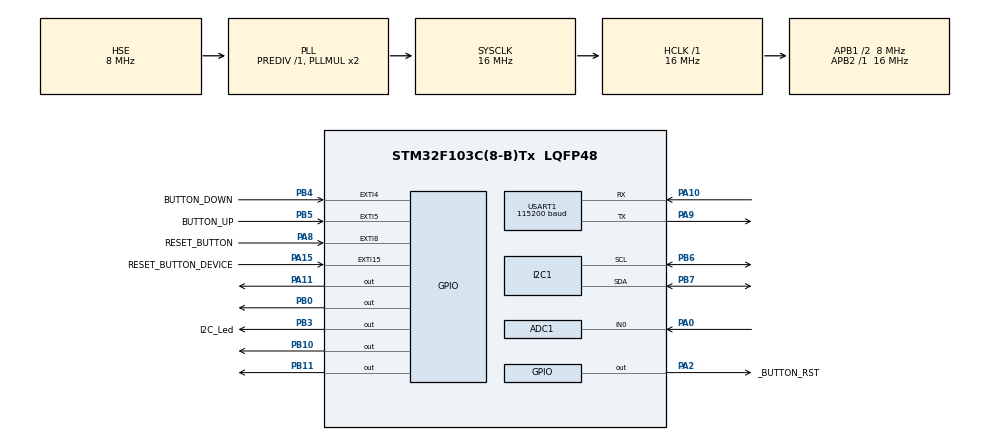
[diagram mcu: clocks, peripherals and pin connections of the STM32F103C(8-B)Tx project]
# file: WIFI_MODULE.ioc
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ADC1.Channel-0\#ChannelRegularConversion=ADC_CHANNEL_0
ADC1.ContinuousConvMode=ENABLE
ADC1.NbrOfConversionFlag=1
ADC1.Rank-0\#ChannelRegularConversion=1
ADC1.SamplingTime-0\#ChannelRegularConversion=ADC_SAMPLETIME_239CYCLES_5
ADC1.master=1
I2C1.DutyCycle=I2C_DUTYCYCLE_16_9
I2C1.I2C_Mode=I2C_Fast
Mcu.Family=STM32F1
Mcu.Name=STM32F103C(8-B)Tx
Mcu.Package=LQFP48
NVIC.ADC1_2_IRQn=true\:3\:0\:true\:false\:true\:true\:true\:true
NVIC.EXTI4_IRQn=true\:1\:0\:true\:false\:true\:true\:true\:true
NVIC.EXTI9_5_IRQn=true\:1\:0\:true\:false\:true\:true\:true\:true
NVIC.PriorityGroup=NVIC_PRIORITYGROUP_4
NVIC.TIM2_IRQn=true\:1\:0\:true\:false\:true\:true\:true\:true
NVIC.TIM3_IRQn=true\:2\:0\:true\:false\:true\:true\:true\:true
NVIC.USART1_IRQn=true\:0\:0\:true\:false\:true\:true\:true\:true
PA0-WKUP.Signal=ADCx_IN0
PA10.Mode=Asynchronous
PA10.Signal=USART1_RX
PA11.Signal=GPIO_Output
PA13.Mode=Serial_Wire
PA13.Signal=SYS_JTMS-SWDIO
PA14.Mode=Serial_Wire
PA14.Signal=SYS_JTCK-SWCLK
PA15.GPIO_Label=RESET_BUTTON_DEVICE
PA15.GPIO_ModeDefaultEXTI=GPIO_MODE_IT_RISING_FALLING
PA15.GPIO_PuPd=GPIO_PULLUP
PA15.Signal=GPXTI15
PA2.GPIO_Label=_BUTTON_RST
PA2.Signal=GPIO_Output
PA8.GPIO_Label=RESET_BUTTON
PA8.GPIO_ModeDefaultEXTI=GPIO_MODE_IT_RISING_FALLING
PA8.GPIO_PuPd=GPIO_PULLUP
PA8.Signal=GPXTI8
PA9.Mode=Asynchronous
PA9.Signal=USART1_TX
PB0.Signal=GPIO_Output
PB10.Signal=GPIO_Output
PB11.Signal=GPIO_Output
PB3.GPIO_Label=I2C_Led
PB3.Signal=GPIO_Output
PB4.GPIO_Label=BUTTON_DOWN
PB4.GPIO_ModeDefaultEXTI=GPIO_MODE_IT_RISING_FALLING
PB4.GPIO_PuPd=GPIO_PULLUP
PB4.Signal=GPXTI4
PB5.GPIO_Label=BUTTON_UP
PB5.GPIO_ModeDefaultEXTI=GPIO_MODE_IT_RISING_FALLING
PB5.GPIO_PuPd=GPIO_PULLUP
PB5.Signal=GPXTI5
PB6.Mode=I2C
PB6.Signal=I2C1_SCL
PB7.Mode=I2C
PB7.Signal=I2C1_SDA
PD0-OSC_IN.Mode=HSE-External-Oscillator
PD0-OSC_IN.Signal=RCC_OSC_IN
PD1-OSC_OUT.Mode=HSE-External-Oscillator
PD1-OSC_OUT.Signal=RCC_OSC_OUT
ProjectManager.HeapSize=0x200
ProjectManager.StackSize=0x400
ProjectManager.TargetToolchain=STM32CubeIDE
RCC.AHBFreq_Value=16000000
RCC.APB1CLKDivider=RCC_HCLK_DIV2
RCC.APB1Freq_Value=8000000
RCC.APB1TimFreq_Value=16000000
RCC.APB2Freq_Value=16000000
RCC.APB2TimFreq_Value=16000000
RCC.HCLKFreq_Value=16000000
RCC.PLLSourceVirtual=RCC_PLLSOURCE_HSE
RCC.SYSCLKFreq_VALUE=16000000
RCC.SYSCLKSource=RCC_SYSCLKSOURCE_PLLCLK
RCC.USBFreq_Value=16000000
SH.ADCx_IN0.0=ADC1_IN0,IN0
TIM2.Period=63999
TIM2.Prescaler=249
TIM3.Period=49999
TIM3.Prescaler=15
USART1.BaudRate=115200
USART1.VirtualMode=VM_ASYNC
VP_TIM2_VS_ClockSourceINT.Mode=Internal
VP_TIM3_VS_ClockSourceINT.Mode=Internal
board=custom

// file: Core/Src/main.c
/* USER CODE BEGIN Header */
/**
  ******************************************************************************
  * @file           : main.c
  * @brief          : Main program body
  ******************************************************************************
  * @attention
  *
  * Copyright (c) 2024 STMicroelectronics.
  * All rights reserved.
  *
  * This software is licensed under terms that can be found in the LICENSE file
  * in the root directory of this software component.
  * If no LICENSE file comes with this software, it is provided AS-IS.
  *
  ******************************************************************************
  */
/* USER CODE END Header */
#include "main.h"

/* USER CODE BEGIN Includes */
#include "../../Drivers/ssd1306/Inc/ssd1306.h"
#include "../../Drivers/ssd1306/Inc/ssd1306_tests.h"
#include "esp8266wifi.h"
#include "math.h"
#include "DS3231.h"
#include "stdbool.h"
#include  "stdio.h"
/* USER CODE END Includes */

/* USER CODE BEGIN PM */
Wifi_t Wifi;
uint8_t init =1;
uint8_t button_resetDevice = 1;
uint8_t actionProtocol =0;

// Global variable to keep track of LED state
volatile uint8_t led_state = 0;
bool stateReset = true;
volatile bool sendFlag = false;

const char *deviceName = "\"ST-ESP-SZ_1-V-AMNH\"";

char message[50];
char jsonData[100];

char response[]="HTTP/1.1 200 OK\r\nContent-Type: text/html\r\n\r\n"
	 	 	 "<!DOCTYPE html>\r\n"
	 	 	 "<html lang=\"en\">\r\n"
	 	 	 "<head>\r\n"
	 	 	 "    <title>WiFi Configuration</title>\r\n"
	 	 	 "</head>\r\n"
		     "<body>\r\n"
			 "    <h1>Da dang nhap thanh cong</h1>\r\n"
			 "</body>\r\n"
	 	 	 "</html>\r\n";

char http_response[] =  "HTTP/1.1 200 OK\r\nContent-Type: text/html\r\n\r\n"
		 	 	 	 	 "<!DOCTYPE html>\r\n"
		 	 	 	 	 "<html lang=\"en\">\r\n"
		 	 	 	 	 "<head>\r\n"
		 	 	 	 	 "    <title>WiFi Configuration</title>\r\n"
		 	 	 	 	 "</head>\r\n"
		 	 	 	 	 "<body>\r\n"
		 	 	 	 	 "    <h1>WiFi Configuration</h1>\r\n"
		 	 	 	 	 "    <form action=\"/submit\" method=\"post\">\r\n"
		 	 	 	 	 "        <label for=\"ssid\">SSID (WiFi Name):</label><br>\r\n"
		 	 	 	 	 "        <input type=\"text\" id=\"ssid\" name=\"ssid\"><br>\r\n"
		 	 	 	 	 "        <label for=\"password\">Password:</label><br>\r\n"
		 	 	 	 	 "        <input type=\"password\" id=\"password\" name=\"password\"><br><br>\r\n"
		 	 	 	 	 "        <input type=\"submit\" value=\"Submit\">\r\n"
		 	 	 	 	 "    </form>\r\n"
		 	 	 	 	 "</body>\r\n"
		 	 	 	 	 "</html>\r\n";

/*----------------------------------------------TIME RTC-----------------------------------------*/
float rtcTemp;
_RTC rtc ;
/*-----------------------------------------------------------------------------------------------*/
#define sampleWindow 50
uint16_t sample;
volatile uint16_t signalMax = 0;
volatile uint16_t signalMin = 4095;
double volts, first,dBValue=0.0;

const uint16_t levelShift = 676;  // Adjust for your reference voltage
const uint8_t timeIntervalSampling = 30;

static uint16_t audioMin = 4095;
	        static uint16_t audioMax = 0;

uint16_t sampleCounter;
uint16_t audioInRaw;
int audioInRectified;
int audioPeakToPeak;
float audioRMSPrecalc;
float audioRMS;
float audioRMSFiltered;
float audiodBSPL;
float audioVoltagePeakToPeak;
float filteredAudioVoltagePeakToPeak ;

/* USER CODE END PM */

ADC_HandleTypeDef hadc1;

I2C_HandleTypeDef hi2c1;

TIM_HandleTypeDef htim2;
TIM_HandleTypeDef htim3;

UART_HandleTypeDef huart1;

void SystemClock_Config(void);
static void MX_GPIO_Init(void);
static void MX_USART1_UART_Init(void);
static void MX_I2C1_Init(void);
static void MX_TIM2_Init(void);
static void MX_ADC1_Init(void);
static void MX_TIM3_Init(void);
/* USER CODE BEGIN PFP */
bool containSubstring(uint8_t *source, int source_len,char *substring) ;
void microphoneADCReading();
void sendDataToServer();
void floatToString2(float number, char* str) ;
void interactiveWithCloudServer(char *data);
float lowPassFilter(float inputValue, float alpha);

/* USER CODE END PFP */

/* USER CODE BEGIN 0 */

void HAL_TIM_PeriodElapsedCallback(TIM_HandleTypeDef *htim) {
  if (htim->Instance == TIM2) {
    if(init==1){
    	led_state = !led_state;
    	HAL_GPIO_WritePin(GPIOB, GPIO_PIN_11, led_state ? GPIO_PIN_SET : GPIO_PIN_RESET);
    }else{
    	sendFlag = true;

    }
  }
  else if(htim->Instance == TIM3){
	  microphoneADCReading();

	  memset(message,0,sizeof(message));
	  floatToString2(audiodBSPL, message);

  }
}

void HAL_GPIO_EXTI_Callback(uint16_t GPIO_Pin){
	if(GPIO_Pin == GPIO_PIN_8){
		stateReset = HAL_GPIO_ReadPin(GPIOA, GPIO_PIN_8);
	}
	else if(GPIO_Pin == RESET_BUTTON_DEVICE_Pin){
		button_resetDevice = HAL_GPIO_ReadPin(RESET_BUTTON_DEVICE_GPIO_Port, RESET_BUTTON_DEVICE_Pin);
	}
	else{
		__NOP();
	}
}

void HAL_ADC_ConvCpltCallback(ADC_HandleTypeDef *hadc)
{
	if(hadc->Instance == hadc1.Instance){
		audioInRaw = HAL_ADC_GetValue(hadc);
		audioInRectified = abs(audioInRaw - levelShift);

		audioMin = (audioInRectified < audioMin) ? audioInRectified : audioMin;
		audioMax = (audioInRectified > audioMax) ? audioInRectified : audioMax;
	}

}

void microphoneADCReading() {

	            audioPeakToPeak = audioMax - audioMin;
	            audioVoltagePeakToPeak = (((float)audioPeakToPeak * 3.3) / 4095.0)*0.707;
	            float alpha = 0.1; // Adjust alpha as needed
	            filteredAudioVoltagePeakToPeak = lowPassFilter(audioVoltagePeakToPeak, alpha);

	            audiodBSPL = 94 + 20 * log10(filteredAudioVoltagePeakToPeak / 0.00631) - 44 - 25;

	            if(audiodBSPL >=58){
	      	  	          HAL_GPIO_WritePin(GPIOB, GPIO_PIN_10, GPIO_PIN_SET);
	            	      HAL_GPIO_WritePin(GPIOB, GPIO_PIN_0, GPIO_PIN_SET);
	      	    }else if(audiodBSPL <58){
	      	  	          HAL_GPIO_WritePin(GPIOB, GPIO_PIN_10, GPIO_PIN_RESET);
	      	    	      HAL_GPIO_WritePin(GPIOB, GPIO_PIN_0, GPIO_PIN_RESET);
	      	    }

	            // Reset variables for the next measurement period
	            audioMin = 4095;
	            audioMax = 0;

	        HAL_ADC_Start_IT(&hadc1);
}

float lowPassFilter(float inputValue, float alpha) {
	 static float filteredValue = 0.0;
    // Apply low-pass filter equation: filteredValue = alpha * inputValue + (1 - alpha) * filteredValue
    filteredValue = (float)(alpha * inputValue + (1.0 - alpha) * filteredValue);

    return filteredValue;
}

void floatToString2(float number, char* str) {
    int integerPart = (int)number;
    int decimalPart = (int)((number - integerPart) * 100); // Assuming 2 decimal places

    if (number < 0) {
        	decimalPart*=-1;
    }
    sprintf(str, "%d.%02d", integerPart, decimalPart);
}

bool containSubstring(uint8_t *source, int source_len,char *substring) {
	int sub_len = strlen(substring);

    if (source_len < sub_len) {
        return false;
    }

    for (int i = 0; i <= source_len - sub_len; ++i) {
        if (memcmp(&source[i], substring, sub_len) == 0) {
            return true;
        }
    }

    return false;
}

int is_not_empty(char *str) {
    return (str != NULL && str[0] != '\0');
}

void analyzeBufferTime(char* bufferTime){
	sscanf(bufferTime,"%4d-%2d-%2dT%2d:%2d:%2d",&rtc.Year,&rtc.Month, &rtc.Date, &rtc.Hour, &rtc.Min, &rtc.Sec);
	rtc.Year = rtc.Year%100;
}

bool packageDataSecret(char *data){
	char httpRequest[256];
	sprintf(httpRequest, "POST /endpoint HTTP/1.1\r\nHost: 13.56.232.149\r\nContent-Type: application/json\r\nContent-Length: %d\r\n\r\n%s\r\n", strlen(data), data);

	//Send Package Data
    if(Wifi_TcpIp_SendDataTcp(0, strlen(httpRequest),(uint8_t*)httpRequest) == false)
		return false;

	return true;

}

bool tryConnectCloudServer(){
	//Connnect to Server IP and Server Port 13.56.232.149
    if(Wifi_TcpIp_CreateTCPConnection("13.56.232.149", 80)==false){
    	    led_state = 0;
			return false;
	}else{
		 led_state = 1;
	}

    return true;
}

void sendDataToServer(){
//	memset(message,0,sizeof(message));
//	floatToString2(audiodBSPL, message);
	sprintf(jsonData,"{\"deviceId\":%s,\"soundLevel\":%s}",deviceName,message);

	if(tryConnectCloudServer()){

		while(packageDataSecret(jsonData)==false);
	}
	HAL_GPIO_WritePin(GPIOB, GPIO_PIN_11, led_state ? GPIO_PIN_SET : GPIO_PIN_RESET);

//	showMonitoring(message);

}

void handleRequestWifiConfig(int linkID){
	if(containSubstring(Wifi.RxBuffer, sizeof(Wifi.RxBuffer), "GET /HOME") == 1){
		if(Wifi_TcpIp_SendDataTcp(linkID, sizeof(http_response),(uint8_t*)http_response ) == false)
		      while(1);
		if(Wifi_TcpIp_Close(linkID) == false)
			while(1);

	}else if(containSubstring(Wifi.RxBuffer, sizeof(Wifi.RxBuffer), "POST /submit") == 1){
		char *body_start =strstr((char*)&Wifi.RxBuffer, "ssid=");
		if(body_start != NULL){
			const char *ssid_start = strstr(body_start, "ssid=")+5;
			const char *password_start = strstr(body_start, "password=")+9;

			// Tìm vị trí kết thúc của ssid (kí tự &)
			const char *ssid_end = strchr(ssid_start, '&');
			// Tìm vị trí kết thúc của password (kí tự null)
			const char *password_end = strchr(password_start, '\0');

			if(ssid_end !=NULL){
				size_t len = ssid_end-ssid_start;
				strncpy(Wifi.SSID_STATION,ssid_start,len);
			}

			size_t len = password_end - password_start;
			strncpy(Wifi.PASSWORD_STATION, password_start, len);
			Wifi.PASSWORD_STATION[len] = '\0';
			Wifi_TxClear();
			if(Wifi_TcpIp_SendDataTcp(linkID, sizeof(response),(uint8_t*)response ) == false)
				while(1);
			if(Wifi_TcpIp_Close(linkID) == false)
				while(1);
		}
	}
}

void Devcice_getTimeFromHTTP(){
	char httpRequest[] = "GET /api/timezone/Asia/Ho_Chi_Minh HTTP/1.1\r\nHost: worldtimeapi.org\r\nConnection: close\r\n\r\n";

	while(Wifi_TcpIp_CreateTCPConnection("worldtimeapi.org", 80)==false);
//	if(Wifi_TcpIp_CreateTCPConnection("worldtimeapi.org", 80)==false)
//		 while(1);

	if(Wifi_TcpIp_SendDataTcp(0, strlen(httpRequest),(uint8_t*)httpRequest) == false)
	    while(1);

	do{
		if(containSubstring(Wifi.RxBuffer, sizeof(Wifi.RxBuffer),"\"datetime\":\"") == 1){
				  			const char* timeStart = strstr((char*)Wifi.RxBuffer, "\"datetime\":\"")+12;
				  			const char *timeEnd = strchr(timeStart, ',');
				  			size_t len = timeEnd-timeStart;

				  			if(timeStart != NULL){
				  					actionProtocol =1;
				  					strncpy(message,timeStart,len);
				  					analyzeBufferTime(message);
				  					memset(message,0,sizeof(message));
				  			}
				  		}
	}while(actionProtocol==0);
}

void Device_initializeComplex(){
	// Device started initialized
	HAL_TIM_Base_Start_IT(&htim2);

	//Initialized OLED Srceen
	ssd1306_InitializeDevice();

	/*---------------------------------------SET UP WIFI----------------------------------------*/
	/*------------------------------------------------------------------------------------------*/

	//Set up Device to Access Point
	Wifi_FirstInit(WIFI_MODE_AP);
	test(Wifi.MyIP,"MODE ACCESS POINT");

	//Set up Device to Station
	do{
		  //Waiting for respone from User act to remote ip 192.168.1.4
		  if(Wifi.RxBuffer != NULL){
			  handleRequestWifiConfig(Get_after((char*)Wifi.RxBuffer));
		  }

		  //Wating for receiving SSID and PASSWORD of target Access Point to make it a Station
		  if(is_not_empty(Wifi.SSID_STATION)&& is_not_empty(Wifi.PASSWORD_STATION)){
		  		Wifi_FirstInit(WIFI_MODE_STA);

		  		memset(Wifi.SSID_STATION,0,strlen(Wifi.SSID_STATION));
		  		memset(Wifi.PASSWORD_STATION,0,strlen(Wifi.PASSWORD_STATION));
		  		test(Wifi.MyIP,"-MODE STATION-");
		  		test("","WIFI CONNECTED");
		  		HAL_Delay(500);
		  }
	}while(Wifi.Mode == WIFI_MODE_AP);

	/*------------------------------------------------------------------------------------------*/
	/*------------------------------------------------------------------------------------------*/
}

/* USER CODE END 0 */

int main(void)
{

  /* MCU Configuration--------------------------------------------------------*/

  /* Reset of all peripherals, Initializes the Flash interface and the Systick. */
  HAL_Init();

  /* Configure the system clock */
  SystemClock_Config();

  /* Initialize all configured peripherals */
  MX_GPIO_Init();
  MX_USART1_UART_Init();
  MX_I2C1_Init();
  MX_TIM2_Init();
  MX_ADC1_Init();
  MX_TIM3_Init();
  /* USER CODE BEGIN 2 */

  HAL_TIM_Base_Start_IT(&htim3);
  if (HAL_ADC_Start_IT(&hadc1) != HAL_OK) {

  }

  DS3231_Init(&hi2c1);
  Device_initializeComplex();
  Devcice_getTimeFromHTTP();

  HAL_Delay(500);
  DS3231_SetTime(&rtc);

  init=0;

  /* USER CODE END 2 */

  /* Infinite loop */
  while (1)
  {

    /* USER CODE BEGIN 3 */
    DS3231_GetTime(&rtc);

	showMonitoring(message);

	if (sendFlag){
	    	   sendFlag = false;
	    	   sendDataToServer();
	}

  }
  /* USER CODE END 3 */
}

void SystemClock_Config(void)
{
  RCC_OscInitTypeDef RCC_OscInitStruct = {0};
  RCC_ClkInitTypeDef RCC_ClkInitStruct = {0};
  RCC_PeriphCLKInitTypeDef PeriphClkInit = {0};

  /** Initializes the RCC Oscillators according to the specified parameters
  * in the RCC_OscInitTypeDef structure.
  */
  RCC_OscInitStruct.OscillatorType = RCC_OSCILLATORTYPE_HSE;
  RCC_OscInitStruct.HSEState = RCC_HSE_ON;
  RCC_OscInitStruct.HSEPredivValue = RCC_HSE_PREDIV_DIV1;
  RCC_OscInitStruct.HSIState = RCC_HSI_ON;
  RCC_OscInitStruct.PLL.PLLState = RCC_PLL_ON;
  RCC_OscInitStruct.PLL.PLLSource = RCC_PLLSOURCE_HSE;
  RCC_OscInitStruct.PLL.PLLMUL = RCC_PLL_MUL2;
  if (HAL_RCC_OscConfig(&RCC_OscInitStruct) != HAL_OK)
  {
    Error_Handler();
  }

  /** Initializes the CPU, AHB and APB buses clocks
  */
  RCC_ClkInitStruct.ClockType = RCC_CLOCKTYPE_HCLK|RCC_CLOCKTYPE_SYSCLK
                              |RCC_CLOCKTYPE_PCLK1|RCC_CLOCKTYPE_PCLK2;
  RCC_ClkInitStruct.SYSCLKSource = RCC_SYSCLKSOURCE_PLLCLK;
  RCC_ClkInitStruct.AHBCLKDivider = RCC_SYSCLK_DIV1;
  RCC_ClkInitStruct.APB1CLKDivider = RCC_HCLK_DIV2;
  RCC_ClkInitStruct.APB2CLKDivider = RCC_HCLK_DIV1;

  if (HAL_RCC_ClockConfig(&RCC_ClkInitStruct, FLASH_LATENCY_0) != HAL_OK)
  {
    Error_Handler();
  }
  PeriphClkInit.PeriphClockSelection = RCC_PERIPHCLK_ADC;
  PeriphClkInit.AdcClockSelection = RCC_ADCPCLK2_DIV2;
  if (HAL_RCCEx_PeriphCLKConfig(&PeriphClkInit) != HAL_OK)
  {
    Error_Handler();
  }
}

static void MX_ADC1_Init(void)
{

  ADC_ChannelConfTypeDef sConfig = {0};

  /** Common config
  */
  hadc1.Instance = ADC1;
  hadc1.Init.ScanConvMode = ADC_SCAN_DISABLE;
  hadc1.Init.ContinuousConvMode = ENABLE;
  hadc1.Init.DiscontinuousConvMode = DISABLE;
  hadc1.Init.ExternalTrigConv = ADC_SOFTWARE_START;
  hadc1.Init.DataAlign = ADC_DATAALIGN_RIGHT;
  hadc1.Init.NbrOfConversion = 1;
  if (HAL_ADC_Init(&hadc1) != HAL_OK)
  {
    Error_Handler();
  }

  /** Configure Regular Channel
  */
  sConfig.Channel = ADC_CHANNEL_0;
  sConfig.Rank = ADC_REGULAR_RANK_1;
  sConfig.SamplingTime = ADC_SAMPLETIME_239CYCLES_5;
  if (HAL_ADC_ConfigChannel(&hadc1, &sConfig) != HAL_OK)
  {
    Error_Handler();
  }

}

static void MX_I2C1_Init(void)
{

  hi2c1.Instance = I2C1;
  hi2c1.Init.ClockSpeed = 400000;
  hi2c1.Init.DutyCycle = I2C_DUTYCYCLE_16_9;
  hi2c1.Init.OwnAddress1 = 0;
  hi2c1.Init.AddressingMode = I2C_ADDRESSINGMODE_7BIT;
  hi2c1.Init.DualAddressMode = I2C_DUALADDRESS_DISABLE;
  hi2c1.Init.OwnAddress2 = 0;
  hi2c1.Init.GeneralCallMode = I2C_GENERALCALL_DISABLE;
  hi2c1.Init.NoStretchMode = I2C_NOSTRETCH_DISABLE;
  if (HAL_I2C_Init(&hi2c1) != HAL_OK)
  {
    Error_Handler();
  }

}

static void MX_TIM2_Init(void)
{

  TIM_ClockConfigTypeDef sClockSourceConfig = {0};
  TIM_MasterConfigTypeDef sMasterConfig = {0};

  htim2.Instance = TIM2;
  htim2.Init.Prescaler = 249;
  htim2.Init.CounterMode = TIM_COUNTERMODE_UP;
  htim2.Init.Period = 63999;
  htim2.Init.ClockDivision = TIM_CLOCKDIVISION_DIV1;
  htim2.Init.AutoReloadPreload = TIM_AUTORELOAD_PRELOAD_DISABLE;
  if (HAL_TIM_Base_Init(&htim2) != HAL_OK)
  {
    Error_Handler();
  }
  sClockSourceConfig.ClockSource = TIM_CLOCKSOURCE_INTERNAL;
  if (HAL_TIM_ConfigClockSource(&htim2, &sClockSourceConfig) != HAL_OK)
  {
    Error_Handler();
  }
  sMasterConfig.MasterOutputTrigger = TIM_TRGO_RESET;
  sMasterConfig.MasterSlaveMode = TIM_MASTERSLAVEMODE_DISABLE;
  if (HAL_TIMEx_MasterConfigSynchronization(&htim2, &sMasterConfig) != HAL_OK)
  {
    Error_Handler();
  }

}

static void MX_TIM3_Init(void)
{

  TIM_ClockConfigTypeDef sClockSourceConfig = {0};
  TIM_MasterConfigTypeDef sMasterConfig = {0};

  htim3.Instance = TIM3;
  htim3.Init.Prescaler = 15;
  htim3.Init.CounterMode = TIM_COUNTERMODE_UP;
  htim3.Init.Period = 49999;
  htim3.Init.ClockDivision = TIM_CLOCKDIVISION_DIV1;
  htim3.Init.AutoReloadPreload = TIM_AUTORELOAD_PRELOAD_DISABLE;
  if (HAL_TIM_Base_Init(&htim3) != HAL_OK)
  {
    Error_Handler();
  }
  sClockSourceConfig.ClockSource = TIM_CLOCKSOURCE_INTERNAL;
  if (HAL_TIM_ConfigClockSource(&htim3, &sClockSourceConfig) != HAL_OK)
  {
    Error_Handler();
  }
  sMasterConfig.MasterOutputTrigger = TIM_TRGO_RESET;
  sMasterConfig.MasterSlaveMode = TIM_MASTERSLAVEMODE_DISABLE;
  if (HAL_TIMEx_MasterConfigSynchronization(&htim3, &sMasterConfig) != HAL_OK)
  {
    Error_Handler();
  }

}

static void MX_USART1_UART_Init(void)
{

  huart1.Instance = USART1;
  huart1.Init.BaudRate = 115200;
  huart1.Init.WordLength = UART_WORDLENGTH_8B;
  huart1.Init.StopBits = UART_STOPBITS_1;
  huart1.Init.Parity = UART_PARITY_NONE;
  huart1.Init.Mode = UART_MODE_TX_RX;
  huart1.Init.HwFlowCtl = UART_HWCONTROL_NONE;
  huart1.Init.OverSampling = UART_OVERSAMPLING_16;
  if (HAL_UART_Init(&huart1) != HAL_OK)
  {
    Error_Handler();
  }

}

static void MX_GPIO_Init(void)
{
  GPIO_InitTypeDef GPIO_InitStruct = {0};

  /* GPIO Ports Clock Enable */
  __HAL_RCC_GPIOD_CLK_ENABLE();
  __HAL_RCC_GPIOA_CLK_ENABLE();
  __HAL_RCC_GPIOB_CLK_ENABLE();

  /*Configure GPIO pin Output Level */
  HAL_GPIO_WritePin(GPIOA, _BUTTON_RST_Pin|GPIO_PIN_11, GPIO_PIN_RESET);

  /*Configure GPIO pin Output Level */
  HAL_GPIO_WritePin(GPIOB, GPIO_PIN_0|GPIO_PIN_10|GPIO_PIN_11|I2C_Led_Pin, GPIO_PIN_RESET);

  /*Configure GPIO pins : _BUTTON_RST_Pin PA11 */
  GPIO_InitStruct.Pin = _BUTTON_RST_Pin|GPIO_PIN_11;
  GPIO_InitStruct.Mode = GPIO_MODE_OUTPUT_PP;
  GPIO_InitStruct.Pull = GPIO_NOPULL;
  GPIO_InitStruct.Speed = GPIO_SPEED_FREQ_LOW;
  HAL_GPIO_Init(GPIOA, &GPIO_InitStruct);

  /*Configure GPIO pins : PB0 PB10 PB11 I2C_Led_Pin */
  GPIO_InitStruct.Pin = GPIO_PIN_0|GPIO_PIN_10|GPIO_PIN_11|I2C_Led_Pin;
  GPIO_InitStruct.Mode = GPIO_MODE_OUTPUT_PP;
  GPIO_InitStruct.Pull = GPIO_NOPULL;
  GPIO_InitStruct.Speed = GPIO_SPEED_FREQ_LOW;
  HAL_GPIO_Init(GPIOB, &GPIO_InitStruct);

  /*Configure GPIO pins : RESET_BUTTON_Pin RESET_BUTTON_DEVICE_Pin */
  GPIO_InitStruct.Pin = RESET_BUTTON_Pin|RESET_BUTTON_DEVICE_Pin;
  GPIO_InitStruct.Mode = GPIO_MODE_IT_RISING_FALLING;
  GPIO_InitStruct.Pull = GPIO_PULLUP;
  HAL_GPIO_Init(GPIOA, &GPIO_InitStruct);

  /*Configure GPIO pins : BUTTON_DOWN_Pin BUTTON_UP_Pin */
  GPIO_InitStruct.Pin = BUTTON_DOWN_Pin|BUTTON_UP_Pin;
  GPIO_InitStruct.Mode = GPIO_MODE_IT_RISING_FALLING;
  GPIO_InitStruct.Pull = GPIO_PULLUP;
  HAL_GPIO_Init(GPIOB, &GPIO_InitStruct);

  /* EXTI interrupt init*/
  HAL_NVIC_SetPriority(EXTI4_IRQn, 1, 0);
  HAL_NVIC_EnableIRQ(EXTI4_IRQn);

  HAL_NVIC_SetPriority(EXTI9_5_IRQn, 1, 0);
  HAL_NVIC_EnableIRQ(EXTI9_5_IRQn);

}

void Error_Handler(void)
{
  __disable_irq();
  while (1)
  {
  }
}
